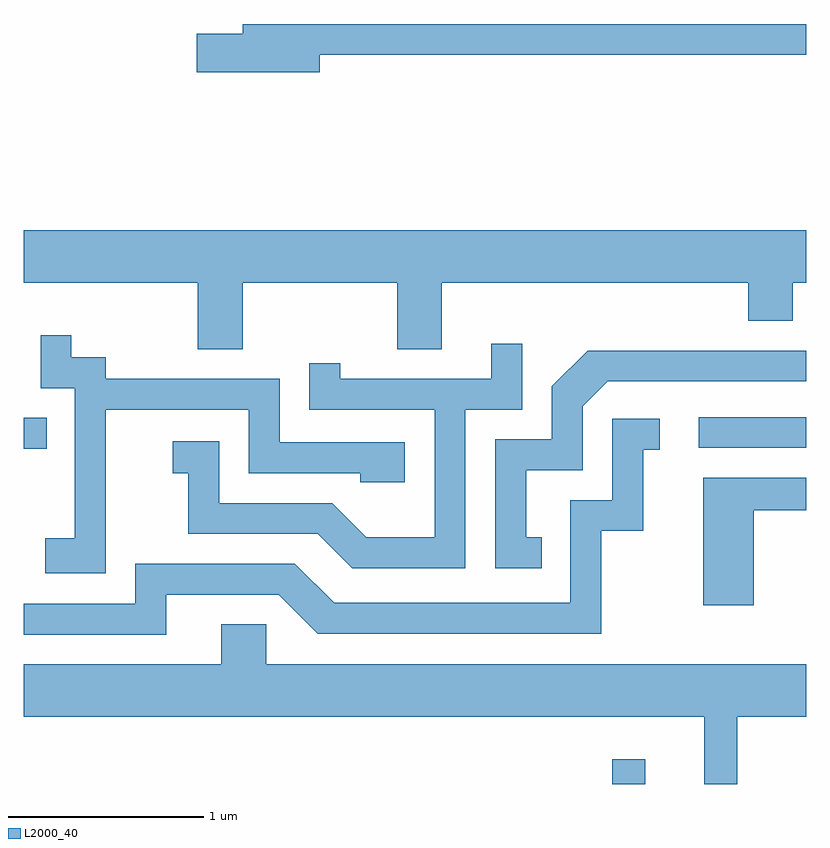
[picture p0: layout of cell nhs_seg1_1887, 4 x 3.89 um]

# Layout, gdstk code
import gdstk
lib = gdstk.Library(unit=1e-6, precision=1e-09)
def R(c, l, rs):  # rectangles x0, y0, x1, y1
    for r in rs: c.add(gdstk.rectangle(r[:2], r[2:], *l))
def P(c, l, *ps):  # polygons
    for p in ps: c.add(gdstk.Polygon(p, *l))
L2000_40 = (2000, 40)

nhs_seg1_1887 = lib.new_cell('nhs_seg1_1887')
R(nhs_seg1_1887, L2000_40, [(246.621,863.712,246.789,863.838), (243.611,865.426,243.728,865.584), (247.063,865.431,247.611,865.589)])
P(nhs_seg1_1887, L2000_40, [(245.124,867.441),(247.611,867.441),(247.611,867.599),(244.731,867.599),(244.731,867.549),(244.496,867.549),(244.496,867.351),(245.124,867.351)],
  [(244.729,866.276),(245.521,866.276),(245.521,865.936),(245.749,865.936),(245.749,866.276),(247.316,866.276),(247.316,866.081),(247.544,866.081),(247.544,866.276),(247.611,866.276),(247.611,866.544),(243.611,866.544),(243.611,866.276),(244.501,866.276),(244.501,865.936),(244.729,865.936)],
  [(244.029,865.626),(244.761,865.626),(244.761,865.301),(245.331,865.301),(245.331,865.256),(245.559,865.256),(245.559,865.459),(244.919,865.459),(244.919,865.784),(244.029,865.784),(244.029,865.894),(243.854,865.894),(243.854,866.008),(243.696,866.008),(243.696,865.736),(243.871,865.736),(243.871,864.969),(243.721,864.969),(243.721,864.791),(244.029,864.791)],
  [(245.869,865.626),(246.159,865.626),(246.159,865.963),(246.001,865.963),(246.001,865.784),(245.229,865.784),(245.229,865.863),(245.071,865.863),(245.071,865.626),(245.711,865.626),(245.711,864.974),(245.362,864.974),(245.187,865.149),(244.609,865.149),(244.609,865.464),(244.373,865.464),(244.373,865.301),(244.451,865.301),(244.451,864.991),(245.114,864.991),(245.289,864.816),(245.869,864.816)],
  [(246.258,864.974),(246.179,864.974),(246.179,865.316),(246.469,865.316),(246.469,865.644),(246.597,865.771),(247.611,865.771),(247.611,865.929),(246.494,865.929),(246.311,865.747),(246.311,865.474),(246.021,865.474),(246.021,864.816),(246.258,864.816)],
  [(244.339,864.681),(244.914,864.681),(245.114,864.481),(246.564,864.481),(246.564,865.006),(246.779,865.006),(246.779,865.421),(246.863,865.421),(246.863,865.579),(246.621,865.579),(246.621,865.164),(246.406,865.164),(246.406,864.639),(245.197,864.639),(244.997,864.839),(244.181,864.839),(244.181,864.634),(243.611,864.634),(243.611,864.476),(244.339,864.476)],
  [(247.344,865.111),(247.611,865.111),(247.611,865.279),(247.086,865.279),(247.086,864.626),(247.344,864.626)],
  [(247.259,864.056),(247.611,864.056),(247.611,864.324),(244.849,864.324),(244.849,864.529),(244.621,864.529),(244.621,864.324),(243.611,864.324),(243.611,864.056),(247.091,864.056),(247.091,863.712),(247.259,863.712)])

lib.write_gds('nhs_seg1_1887.gds')
